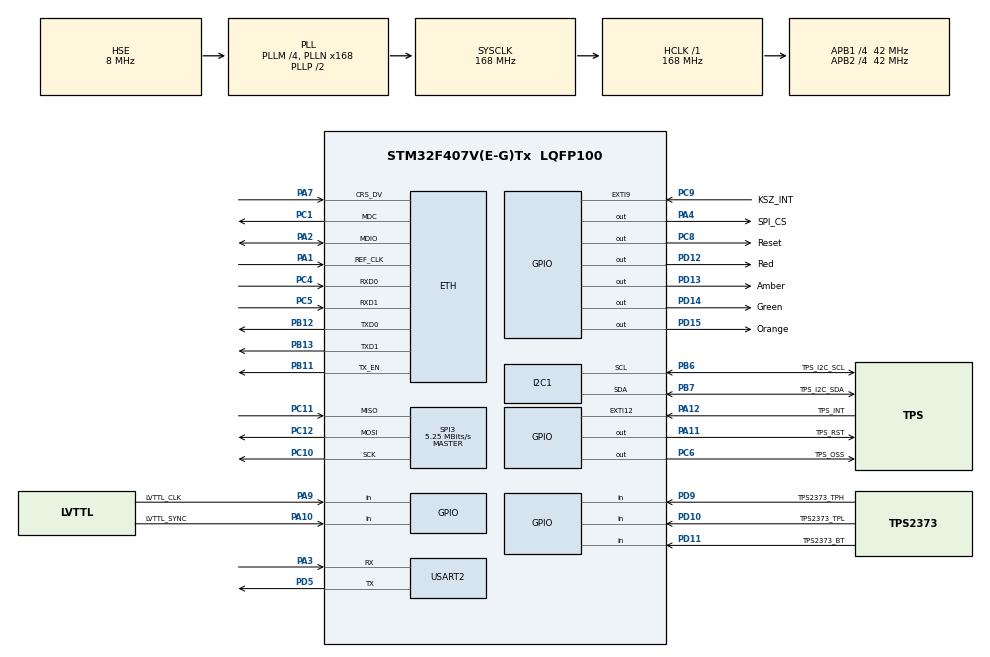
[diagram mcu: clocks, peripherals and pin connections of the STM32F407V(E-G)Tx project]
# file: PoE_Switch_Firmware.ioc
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ETH.MediaInterface=HAL_ETH_RMII_MODE
LWIP.BSP.number=1
LWIP.GATEWAY_ADDRESS=192.168.000.001
LWIP.IP_ADDRESS=192.168.000.025
LWIP.LWIP_DHCP=0
LWIP.LWIP_HTTPD=1
LWIP.LWIP_HTTPD_CGI=1
LWIP.LWIP_HTTPD_CGI_SSI=0
LWIP.LWIP_HTTPD_SSI=1
LWIP.LWIP_HTTPD_SUPPORT_POST=1
LWIP.MEM_SIZE=10*1024
LWIP.NETMASK_ADDRESS=255.255.255.000
LWIP.Version=v2.1.2_Cube
LWIP0.BSP.STBoard=false
LWIP0.BSP.api=BSP_COMPONENT_DRIVER
LWIP0.BSP.component=LAN8742
LWIP0.BSP.instance=LAN8742
LWIP0.BSP.name=Driver_PHY
LWIP0.BSP.semaphore=S_LAN8742
LWIP0.BSP.solution=LAN8742
Mcu.Family=STM32F4
Mcu.Name=STM32F407V(E-G)Tx
Mcu.Package=LQFP100
NVIC.EXTI15_10_IRQn=true\:0\:0\:false\:false\:true\:true\:true\:true
NVIC.EXTI9_5_IRQn=true\:1\:0\:true\:false\:true\:true\:true\:true
NVIC.PriorityGroup=NVIC_PRIORITYGROUP_4
NVIC.TIM1_UP_TIM10_IRQn=true\:2\:0\:true\:false\:true\:true\:true\:true
PA1.Mode=RMII
PA1.Signal=ETH_REF_CLK
PA10.GPIO_Label=LVTTL_SYNC
PA10.Signal=GPIO_Input
PA11.GPIO_Label=TPS_RST
PA11.Signal=GPIO_Output
PA12.GPIO_Label=TPS_INT
PA12.GPIO_ModeDefaultEXTI=GPIO_MODE_IT_FALLING
PA12.Signal=GPXTI12
PA13.Mode=Serial_Wire
PA13.Signal=SYS_JTMS-SWDIO
PA14.Mode=Serial_Wire
PA14.Signal=SYS_JTCK-SWCLK
PA2.Mode=RMII
PA2.Signal=ETH_MDIO
PA3.Mode=Asynchronous
PA3.Signal=USART2_RX
PA4.GPIO_Label=SPI_CS
PA4.Signal=GPIO_Output
PA7.Mode=RMII
PA7.Signal=ETH_CRS_DV
PA9.GPIO_Label=LVTTL_CLK
PA9.Signal=GPIO_Input
PB11.Mode=RMII
PB11.Signal=ETH_TX_EN
PB12.Mode=RMII
PB12.Signal=ETH_TXD0
PB13.Mode=RMII
PB13.Signal=ETH_TXD1
PB6.GPIO_Label=TPS_I2C_SCL
PB6.Mode=I2C
PB6.Signal=I2C1_SCL
PB7.GPIO_Label=TPS_I2C_SDA
PB7.Mode=I2C
PB7.Signal=I2C1_SDA
PC1.Mode=RMII
PC1.Signal=ETH_MDC
PC10.Mode=Full_Duplex_Master
PC10.Signal=SPI3_SCK
PC11.Mode=Full_Duplex_Master
PC11.Signal=SPI3_MISO
PC12.Mode=Full_Duplex_Master
PC12.Signal=SPI3_MOSI
PC4.Mode=RMII
PC4.Signal=ETH_RXD0
PC5.Mode=RMII
PC5.Signal=ETH_RXD1
PC6.GPIO_Label=TPS_OSS
PC6.Signal=GPIO_Output
PC8.GPIO_Label=Reset
PC8.Signal=GPIO_Output
PC9.GPIO_Label=KSZ_INT
PC9.GPIO_ModeDefaultEXTI=GPIO_MODE_IT_FALLING
PC9.Signal=GPXTI9
PD10.GPIO_Label=TPS2373_TPL
PD10.Signal=GPIO_Input
PD11.GPIO_Label=TPS2373_BT
PD11.Signal=GPIO_Input
PD12.GPIO_Label=Red
PD12.Signal=GPIO_Output
PD13.GPIO_Label=Amber
PD13.Signal=GPIO_Output
PD14.GPIO_Label=Green
PD14.Signal=GPIO_Output
PD15.GPIO_Label=Orange
PD15.Signal=GPIO_Output
PD5.Mode=Asynchronous
PD5.Signal=USART2_TX
PD9.GPIO_Label=TPS2373_TPH
PD9.Signal=GPIO_Input
PH0-OSC_IN.Mode=HSE-External-Oscillator
PH0-OSC_IN.Signal=RCC_OSC_IN
PH1-OSC_OUT.Mode=HSE-External-Oscillator
PH1-OSC_OUT.Signal=RCC_OSC_OUT
ProjectManager.HeapSize=0x200
ProjectManager.StackSize=0x400
ProjectManager.TargetToolchain=STM32CubeIDE
RCC.48MHZClocksFreq_Value=84000000
RCC.AHBFreq_Value=168000000
RCC.APB1CLKDivider=RCC_HCLK_DIV4
RCC.APB1Freq_Value=42000000
RCC.APB1TimFreq_Value=84000000
RCC.APB2CLKDivider=RCC_HCLK_DIV4
RCC.APB2Freq_Value=42000000
RCC.APB2TimFreq_Value=84000000
RCC.CortexFreq_Value=168000000
RCC.HCLKFreq_Value=168000000
RCC.HSE_VALUE=8000000
RCC.HSI_VALUE=16000000
RCC.LSE_VALUE=32768
RCC.PLLM=4
RCC.PLLN=168
RCC.PLLSourceVirtual=RCC_PLLSOURCE_HSE
RCC.SYSCLKFreq_VALUE=168000000
RCC.SYSCLKSource=RCC_SYSCLKSOURCE_PLLCLK
RCC.VCOOutputFreq_Value=336000000
SPI3.BaudRatePrescaler=SPI_BAUDRATEPRESCALER_8
SPI3.CalculateBaudRate=5.25 MBits/s
SPI3.Direction=SPI_DIRECTION_2LINES
SPI3.Mode=SPI_MODE_MASTER
SPI3.VirtualType=VM_MASTER
TIM10.Prescaler=60000-1
USART2.VirtualMode=VM_ASYNC
VP_LWIP_VS_Enabled.Mode=Enabled
VP_TIM10_VS_ClockSourceINT.Mode=Enable_Timer
board=custom

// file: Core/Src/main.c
/* USER CODE BEGIN Header */
/**
 ====================================================================================================
 * File:		main.c
 * Author:		AMS-IOT
 * Version:	    Rev_1.0.0
 * Date:		Dec 05, 2023
 * Brief:		This file contains the application
 *
 ====================================================================================================
 * Attention:
 *                         COPYRIGHT 2021 AMS-IOT Pvt Ltd.
 *
 * Licensed under ************* License Agreement V2, (the "License");
 * Third Party may not use this file except in compliance with the License.
 * Third Party may obtain a copy of the License at:
 *
 *
 *
 * Unless required by applicable law or agreed to in writing, software
 * distributed under the License is distributed on an "AS IS" BASIS,
 * WITHOUT WARRANTIES OR CONDITIONS OF ANY KIND, either express or implied.
 * See the License for the specific language governing permissions and
 * limitations under the License.
 *
 =====================================================================================================
  */
/* USER CODE END Header */
#include "main.h"
#include "lwip.h"

/* USER CODE BEGIN Includes */
#include "ksz9897.h"
#include "tps23881.h"
#include "server.h"
/* USER CODE END Includes */

I2C_HandleTypeDef hi2c1;

SPI_HandleTypeDef hspi3;

TIM_HandleTypeDef htim10;

UART_HandleTypeDef huart2;

/* USER CODE BEGIN PV */

extern struct netif gnetif;				 // Generic data structure for lwIP network interfaces
uint8_t* portsConnectionStatus;          // Ethernet port connection status
DeviceSettings poeSettings;              // Structure To Stores the device settings
TPS23881 PSE;                            // Structure for TPS23881
uint8_t malfPort = 0;                    // Stores the malfunctioning port
bool systemResetFlag = false;            // System  reset flag
bool systemBootFlag = false;             // System boot flag
bool pseIntFlag = false;                 // PSE Interrupt Flag
poe_err error;                           // For error handling

#ifdef SERIAL_DEBUG
uint8_t debugBuff[80];                   // Buffer for serial debugging
#endif

/* USER CODE END PV */

void SystemClock_Config(void);
static void MX_GPIO_Init(void);
#ifdef SERIAL_DEBUG
static void MX_USART2_UART_Init(void);
#endif
static void MX_SPI3_Init(void);
static void MX_TIM10_Init(void);
static void MX_I2C1_Init(void);
/* USER CODE BEGIN PFP */

poe_err readSettings();

/* USER CODE END PFP */

/* USER CODE BEGIN 0 */

/**
  * @brief  Callback function for GPIO interrupts
  * @param  GPIO pin
  */

void HAL_GPIO_EXTI_Callback( uint16_t GPIO_Pin)
{
#ifdef SERIAL_DEBUG
	SerialDebug( strcpy((char*) debugBuff, "\n---------Interrupt Detected\r\n") );
#endif
	poe_err ret;

	// Checks Interrupt From TPS23381
	if(GPIO_Pin == TPS_INT_Pin)
	{
#ifdef SERIAL_DEBUG
		SerialDebug( strcpy((char*) debugBuff, "---------SourceTPS23381\r\n") );
#endif
		// Checks If TPS Initialized
		if(PSE.initStatus)
		{
			pseIntFlag = true;
			PSE.interruptPin = 1;

			// Extracting Port That Generated Interrupt
			uint8_t port = TPS23881_InterruptHandler(&PSE, DEVICE_ADDR_A);

			// If POE Device Connected and Classified
			if(tpsPortsPowerStatus[port - 1] && port != 0)
			{
				// Assigning Power Class to Port
				ret = TPS23881_AssignPortClass(&PSE, port, tpsPortsClassificationBuffer[port - 1], DEVICE_ADDR_A);

				if(ret == POE_OK)
				{
					// Enabling the Port Power
					ret = TPS23881_PowerEnable(&PSE, port, Enable, DEVICE_ADDR_A);
				}

				if(ret == POE_OK)
				{
					// Checking For Ethernet Switch KSZ9897 Interrupts
					portsConnectionStatus = ksz9897InterruptHandler(HSPI);

					if(portsConnectionStatus[port - 1])
					{
						// Implement your logic if Ethernet device connected

						ret = ksz9897SetPortState(HSPI, port, SWITCH_PORT_STATE_FORWARDING);
					}
					else if(!portsConnectionStatus[port - 1])
					{
						// Implement your logic if Ethernet device not connected

						ret = ksz9897SetPortState(HSPI, port, SWITCH_PORT_STATE_DISABLED);

					}

					// Handle Error
					if(ret != POE_OK)
					{

					}
				}

			}

			// If POE Device Disconnected
			else if(!tpsPortsPowerStatus[port - 1] && port != 0)
			{
				//Disabling the Port Power
				ret = TPS23881_PowerEnable(&PSE, port, Disable, DEVICE_ADDR_A);

				// Handle Error
				if(ret != POE_OK)
				{

				}
			}
		}
	}
	else if(GPIO_Pin == KSZ_INT_Pin)
	{
#ifdef SERIAL_DEBUG
		SerialDebug( strcpy((char*) debugBuff, "---------Source KSZ9897\r\n") );
#endif
		// Checks If PSE Interrupted Or Not Which Indicate Only Ethernet Device
		if(!pseIntFlag)
		{
			// Checking For Ethernet Switch KSZ9897 Interrupts
			portsConnectionStatus = ksz9897InterruptHandler(HSPI);
			for(uint8_t port = 1; port <= 5; port++)
			{
				if(portsConnectionStatus[port - 1]) {
					ret = ksz9897SetPortState(HSPI, port, SWITCH_PORT_STATE_FORWARDING);
				}
				else {
					ret = ksz9897SetPortState(HSPI, port, SWITCH_PORT_STATE_DISABLED);
				}

				// Handle Error
				if(ret != POE_OK)
				{

				}
			}
		}
	}
}

/**
  * @brief  Callback function for Timer interrupts
  * @param  GPIO pin
  */

void HAL_TIM_PeriodElapsedCallback(TIM_HandleTypeDef* htim)
{
	if(htim == &htim10)
	{
		//Run check for any PD malfunctioning
		malfPort = TPS23881_PortAutoRecovery(&PSE, DEVICE_ADDR_A);
	}
}
/* USER CODE END 0 */

int main(void)
{

  /* MCU Configuration--------------------------------------------------------*/

  /* Reset of all peripherals, Initializes the Flash interface and the Systick. */
  HAL_Init();

  /* Configure the system clock */
  SystemClock_Config();

  /* Initialize all configured peripherals */
  MX_GPIO_Init();
  MX_LWIP_Init();

  // Turning Amber Light On Indicating LWIP Initialized Successfully
  HAL_GPIO_WritePin(Amber_GPIO_Port, Amber_Pin, GPIO_PIN_SET);

#ifdef SERIAL_DEBUG
  MX_USART2_UART_Init();
#endif

  MX_SPI3_Init();
  MX_I2C1_Init();
  MX_TIM10_Init();
  /* USER CODE BEGIN 2 */
#ifdef SERIAL_DEBUG
  SerialDebug( strcpy((char*) debugBuff, "---------Starting\r\n") );
#endif

  HAL_GPIO_WritePin(SPI_CS_GPIO_Port, SPI_CS_Pin, GPIO_PIN_SET);
  HAL_GPIO_WritePin(Reset_GPIO_Port, Reset_Pin, GPIO_PIN_RESET);
  HAL_GPIO_WritePin(TPS_RST_GPIO_Port, TPS_RST_Pin, GPIO_PIN_RESET);
  HAL_Delay(10);
  HAL_GPIO_WritePin(Reset_GPIO_Port, Reset_Pin, GPIO_PIN_SET);
  HAL_GPIO_WritePin(TPS_RST_GPIO_Port, TPS_RST_Pin, GPIO_PIN_SET);
#ifdef SERIAL_DEBUG
  SerialDebug( strcpy((char*) debugBuff, "\n---------Reseting PoE Switch\r\n") );
#endif
  // Loading Settings From MCU Flash
  if(readSettings() != POE_OK)
  {
	  // Handle Error
  }

  // Initializing HTTP Server
  http_server_init();

#ifdef SERIAL_DEBUG
  SerialDebug( strcpy((char*) debugBuff, "---------Starting Server\r\n") );
#endif

  // Turning Orange Light On Indicating Settings Loaded and Server Initialized Successfully
  HAL_GPIO_WritePin(Orange_GPIO_Port, Orange_Pin, GPIO_PIN_SET);

  /* USER CODE END 2 */

  /* Infinite loop */
  /* USER CODE BEGIN WHILE */

	/*	Initializing KSZ98997	*/

	if(ksz9897Init(HSPI, false) == POE_OK)
	{
#ifdef SERIAL_DEBUG
		SerialDebug( strcpy((char*) debugBuff, "---------KSZ9897 Initialization Successful\r\n") );
#endif
		// Turning Green Light On Indicating KSZ9897 Initialized Successfully
		HAL_GPIO_WritePin(Green_GPIO_Port, Green_Pin, GPIO_PIN_SET);
	}
	else
	{
#ifdef SERIAL_DEBUG
		SerialDebug( strcpy((char*) debugBuff, "---------KSZ9897 Initialization Unsuccessful\r\n") );
#endif
		// Turning Red Light On Indicating KSZ9897 Initialization Failed
		HAL_GPIO_WritePin(Red_GPIO_Port, Red_Pin, GPIO_PIN_SET);
	}

	/*	Initializing KSZ98997	*/

	if(TPS23881_init(&PSE, HI2C, OPERATING_MODE_SEMI_AUTO) == POE_OK)
	{
	  // Clear the interrupt and event statuses while reading
	  error = GetAllInterruptStatus(&PSE, DEVICE_ADDR_A);
	  error = GetAllInterruptStatus(&PSE, DEVICE_ADDR_B);

	  error = TPS23881_GetDeviceInterruptStatus(&PSE, DEVICE_ADDR_A);
	  error = TPS23881_GetDeviceInterruptStatus(&PSE, DEVICE_ADDR_B);

	  // Handle Error
	  if(error != POE_OK)
	  {

	  }

#ifdef SERIAL_DEBUG
	  SerialDebug( strcpy((char*) debugBuff, "---------TPS23881 Initialization Successful\r\n\n\n") );
#endif

	  HAL_TIM_Base_Start_IT(&htim10);
	}
	else
	{
#ifdef SERIAL_DEBUG
	  SerialDebug( strcpy((char*) debugBuff, "---------TPS23881 Initialization Unsuccessful\r\n\n") );
#endif
	}
  while (1)
  {
    /* USER CODE END WHILE */

    /* USER CODE BEGIN 3 */

	  // Checks If PSE Interrupt Flag Set Then Reset It
	  if(pseIntFlag) {
		  pseIntFlag = false;
	  }

	  // To Ping The PoE Switch
	  ethernetif_input(&gnetif);
	  sys_check_timeouts();

	  // Check If System Reset Flag True Then Rest The Device
	  if(systemResetFlag)
	  {
		  NVIC_SystemReset();
	  }

	  // Check If System Boot Flag False Then Confirms Successful Boot
	  if(!systemBootFlag)
	  {
		  systemBootFlag = true;
		  memset(poeSettings.boot, '\0', 10);
		  strcpy(poeSettings.boot , "normal");
		  error = writeSettingsToFlash(&poeSettings);

		  if(error != POE_OK) {
			  // Handle error
		  }

		  // In Case Of Update Rests The Device
		  if(strcmp(poeSettings.update, "true") == 0)
		  {
			  NVIC_SystemReset();
		  }
	  }

	  // Check If Malfunctioning Port Not Zero Then Take Action Against It
	  if(malfPort)
	  {
		  error = TPS23881_PowerEnable(&PSE, malfPort, Disable, DEVICE_ADDR_A);
		  error = TPS23881_RestartDetectClass(&PSE, malfPort, DEVICE_ADDR_A);
		  malfPort = 0;

		  // Handle Error
		  if(error != POE_OK)
		  {

		  }
	  }
  }
  /* USER CODE END 3 */
}

void SystemClock_Config(void)
{
  RCC_OscInitTypeDef RCC_OscInitStruct = {0};
  RCC_ClkInitTypeDef RCC_ClkInitStruct = {0};

  /** Configure the main internal regulator output voltage
  */
  __HAL_RCC_PWR_CLK_ENABLE();
  __HAL_PWR_VOLTAGESCALING_CONFIG(PWR_REGULATOR_VOLTAGE_SCALE1);

  /** Initializes the RCC Oscillators according to the specified parameters
  * in the RCC_OscInitTypeDef structure.
  */
  RCC_OscInitStruct.OscillatorType = RCC_OSCILLATORTYPE_HSE;
  RCC_OscInitStruct.HSEState = RCC_HSE_ON;
  RCC_OscInitStruct.PLL.PLLState = RCC_PLL_ON;
  RCC_OscInitStruct.PLL.PLLSource = RCC_PLLSOURCE_HSE;
  RCC_OscInitStruct.PLL.PLLM = 4;
  RCC_OscInitStruct.PLL.PLLN = 168;
  RCC_OscInitStruct.PLL.PLLP = RCC_PLLP_DIV2;
  RCC_OscInitStruct.PLL.PLLQ = 4;
  if (HAL_RCC_OscConfig(&RCC_OscInitStruct) != HAL_OK)
  {
    Error_Handler();
  }

  /** Initializes the CPU, AHB and APB buses clocks
  */
  RCC_ClkInitStruct.ClockType = RCC_CLOCKTYPE_HCLK|RCC_CLOCKTYPE_SYSCLK
                              |RCC_CLOCKTYPE_PCLK1|RCC_CLOCKTYPE_PCLK2;
  RCC_ClkInitStruct.SYSCLKSource = RCC_SYSCLKSOURCE_PLLCLK;
  RCC_ClkInitStruct.AHBCLKDivider = RCC_SYSCLK_DIV1;
  RCC_ClkInitStruct.APB1CLKDivider = RCC_HCLK_DIV4;
  RCC_ClkInitStruct.APB2CLKDivider = RCC_HCLK_DIV4;

  if (HAL_RCC_ClockConfig(&RCC_ClkInitStruct, FLASH_LATENCY_5) != HAL_OK)
  {
    Error_Handler();
  }
}

static void MX_I2C1_Init(void)
{

  hi2c1.Instance = I2C1;
  hi2c1.Init.ClockSpeed = 100000;
  hi2c1.Init.DutyCycle = I2C_DUTYCYCLE_2;
  hi2c1.Init.OwnAddress1 = 0;
  hi2c1.Init.AddressingMode = I2C_ADDRESSINGMODE_7BIT;
  hi2c1.Init.DualAddressMode = I2C_DUALADDRESS_DISABLE;
  hi2c1.Init.OwnAddress2 = 0;
  hi2c1.Init.GeneralCallMode = I2C_GENERALCALL_DISABLE;
  hi2c1.Init.NoStretchMode = I2C_NOSTRETCH_DISABLE;
  if (HAL_I2C_Init(&hi2c1) != HAL_OK)
  {
    Error_Handler();
  }

}

static void MX_SPI3_Init(void)
{

  /* SPI3 parameter configuration*/
  hspi3.Instance = SPI3;
  hspi3.Init.Mode = SPI_MODE_MASTER;
  hspi3.Init.Direction = SPI_DIRECTION_2LINES;
  hspi3.Init.DataSize = SPI_DATASIZE_8BIT;
  hspi3.Init.CLKPolarity = SPI_POLARITY_LOW;
  hspi3.Init.CLKPhase = SPI_PHASE_1EDGE;
  hspi3.Init.NSS = SPI_NSS_SOFT;
  hspi3.Init.BaudRatePrescaler = SPI_BAUDRATEPRESCALER_8;
  hspi3.Init.FirstBit = SPI_FIRSTBIT_MSB;
  hspi3.Init.TIMode = SPI_TIMODE_DISABLE;
  hspi3.Init.CRCCalculation = SPI_CRCCALCULATION_DISABLE;
  hspi3.Init.CRCPolynomial = 10;
  if (HAL_SPI_Init(&hspi3) != HAL_OK)
  {
    Error_Handler();
  }

}

static void MX_TIM10_Init(void)
{

  htim10.Instance = TIM10;
  htim10.Init.Prescaler = 60000-1;
  htim10.Init.CounterMode = TIM_COUNTERMODE_UP;
  htim10.Init.Period = 65535;
  htim10.Init.ClockDivision = TIM_CLOCKDIVISION_DIV1;
  htim10.Init.AutoReloadPreload = TIM_AUTORELOAD_PRELOAD_DISABLE;
  if (HAL_TIM_Base_Init(&htim10) != HAL_OK)
  {
    Error_Handler();
  }

}

#ifdef SERIAL_DEBUG
static void MX_USART2_UART_Init(void)
{

  huart2.Instance = USART2;
  huart2.Init.BaudRate = 115200;
  huart2.Init.WordLength = UART_WORDLENGTH_8B;
  huart2.Init.StopBits = UART_STOPBITS_1;
  huart2.Init.Parity = UART_PARITY_NONE;
  huart2.Init.Mode = UART_MODE_TX_RX;
  huart2.Init.HwFlowCtl = UART_HWCONTROL_NONE;
  huart2.Init.OverSampling = UART_OVERSAMPLING_16;
  if (HAL_UART_Init(&huart2) != HAL_OK)
  {
    Error_Handler();
  }

}
#endif
static void MX_GPIO_Init(void)
{
  GPIO_InitTypeDef GPIO_InitStruct = {0};

  /* GPIO Ports Clock Enable */
  __HAL_RCC_GPIOH_CLK_ENABLE();
  __HAL_RCC_GPIOC_CLK_ENABLE();
  __HAL_RCC_GPIOA_CLK_ENABLE();
  __HAL_RCC_GPIOB_CLK_ENABLE();
  __HAL_RCC_GPIOD_CLK_ENABLE();

  /*Configure GPIO pin Output Level */
  HAL_GPIO_WritePin(GPIOA, SPI_CS_Pin|TPS_RST_Pin, GPIO_PIN_RESET);

  /*Configure GPIO pin Output Level */
  HAL_GPIO_WritePin(GPIOD, Red_Pin|Amber_Pin|Green_Pin|Orange_Pin, GPIO_PIN_RESET);

  /*Configure GPIO pin Output Level */
  HAL_GPIO_WritePin(GPIOC, TPS_OSS_Pin|Reset_Pin, GPIO_PIN_RESET);

  /*Configure GPIO pins : SPI_CS_Pin TPS_RST_Pin */
  GPIO_InitStruct.Pin = SPI_CS_Pin|TPS_RST_Pin;
  GPIO_InitStruct.Mode = GPIO_MODE_OUTPUT_PP;
  GPIO_InitStruct.Pull = GPIO_NOPULL;
  GPIO_InitStruct.Speed = GPIO_SPEED_FREQ_LOW;
  HAL_GPIO_Init(GPIOA, &GPIO_InitStruct);

  /*Configure GPIO pins : TPS2373_TPH_Pin TPS2373_TPL_Pin TPS2373_BT_Pin */
  GPIO_InitStruct.Pin = TPS2373_TPH_Pin|TPS2373_TPL_Pin|TPS2373_BT_Pin;
  GPIO_InitStruct.Mode = GPIO_MODE_INPUT;
  GPIO_InitStruct.Pull = GPIO_NOPULL;
  HAL_GPIO_Init(GPIOD, &GPIO_InitStruct);

  /*Configure GPIO pins : Red_Pin Amber_Pin Green_Pin Orange_Pin */
  GPIO_InitStruct.Pin = Red_Pin|Amber_Pin|Green_Pin|Orange_Pin;
  GPIO_InitStruct.Mode = GPIO_MODE_OUTPUT_PP;
  GPIO_InitStruct.Pull = GPIO_NOPULL;
  GPIO_InitStruct.Speed = GPIO_SPEED_FREQ_LOW;
  HAL_GPIO_Init(GPIOD, &GPIO_InitStruct);

  /*Configure GPIO pins : TPS_OSS_Pin Reset_Pin */
  GPIO_InitStruct.Pin = TPS_OSS_Pin|Reset_Pin;
  GPIO_InitStruct.Mode = GPIO_MODE_OUTPUT_PP;
  GPIO_InitStruct.Pull = GPIO_NOPULL;
  GPIO_InitStruct.Speed = GPIO_SPEED_FREQ_LOW;
  HAL_GPIO_Init(GPIOC, &GPIO_InitStruct);

  /*Configure GPIO pin : KSZ_INT_Pin */
  GPIO_InitStruct.Pin = KSZ_INT_Pin;
  GPIO_InitStruct.Mode = GPIO_MODE_IT_FALLING;
  GPIO_InitStruct.Pull = GPIO_NOPULL;
  HAL_GPIO_Init(KSZ_INT_GPIO_Port, &GPIO_InitStruct);

  /*Configure GPIO pins : LVTTL_CLK_Pin LVTTL_SYNC_Pin */
  GPIO_InitStruct.Pin = LVTTL_CLK_Pin|LVTTL_SYNC_Pin;
  GPIO_InitStruct.Mode = GPIO_MODE_INPUT;
  GPIO_InitStruct.Pull = GPIO_NOPULL;
  HAL_GPIO_Init(GPIOA, &GPIO_InitStruct);

  /*Configure GPIO pin : TPS_INT_Pin */
  GPIO_InitStruct.Pin = TPS_INT_Pin;
  GPIO_InitStruct.Mode = GPIO_MODE_IT_FALLING;
  GPIO_InitStruct.Pull = GPIO_NOPULL;
  HAL_GPIO_Init(TPS_INT_GPIO_Port, &GPIO_InitStruct);

  /* EXTI interrupt init*/
  HAL_NVIC_SetPriority(EXTI9_5_IRQn, 1, 0);
  HAL_NVIC_EnableIRQ(EXTI9_5_IRQn);

  HAL_NVIC_SetPriority(EXTI15_10_IRQn, 0, 0);
  HAL_NVIC_EnableIRQ(EXTI15_10_IRQn);

}

/* USER CODE BEGIN 4 */

/**
 * @brief Reads the saved settings
 **/

poe_err readSettings()
{
	poe_err ret = POE_OK;
	DeviceSettings tempSettings;

	// Reading saved settings
	readSettingsFromFlash(&tempSettings);

	// Checking settings status
	if(strcmp(tempSettings.def, "false") == 0)
	{
		// Quick check for updated firmware
		if(strcmp(tempSettings.fV, FIRMWARE_VERSION) != 0)
		{
			memset(tempSettings.fV, '\0', 10);
			strcpy(tempSettings.fV, FIRMWARE_VERSION);
			if(tempSettings.size != FIRMWARE_SIZE)
			{
				tempSettings.size = FIRMWARE_SIZE;
			}

			if(writeSettingsToFlash(&tempSettings) != POE_OK) {
				ret = POE_ERR;
			}

		}

		// If default is false load the settings
		poeSettings = tempSettings;

#ifdef SERIAL_DEBUG
		SerialDebug( strcpy((char*) debugBuff, "---------Settings Loaded Successfully\r\n") );
#endif
		// Return Error
		return ret;
	}
	else
	{
		// Otherwise load the default settings
		for(int i = 0; i < 5; i++)
		{
			strcpy(poeSettings.speed[i] ,"100 MBps");
			strcpy(poeSettings.status[i] ,"Forwarding");
			strcpy(poeSettings.pdconfig[i] , "No");
			strcpy(poeSettings.pdenable[i] , "disable");
		}
		memset(&poeSettings.portACL, '\0', sizeof(poeSettings.portACL));
		strcpy(poeSettings.username, "admin");
		strcpy(poeSettings.password , "admin");
		strcpy(poeSettings.def , "false");
		strcpy(poeSettings.boot , "normal");
		strcpy(poeSettings.fV , FIRMWARE_VERSION);
		strcpy(poeSettings.update , "false");
		poeSettings.size = FIRMWARE_SIZE;
		// Save the default settings in the memory
		ret = writeSettingsToFlash(&poeSettings);

#ifdef SERIAL_DEBUG
		SerialDebug( strcpy((char*) debugBuff, "---------Settings Not Present Loading Default\r\n") );
#endif
		return ret;
	}
}

/**
  * @brief  Print serial logs
  * @param  Pointer to data
  */
#ifdef SERIAL_DEBUG
void SerialDebug(char *data)
{

    HAL_UART_Transmit(&huart2, (uint8_t*)data, strlen(data), HAL_MAX_DELAY);

}
#endif
/* USER CODE END 4 */

void Error_Handler(void)
{
  __disable_irq();
  while (1)
  {
  }
}
